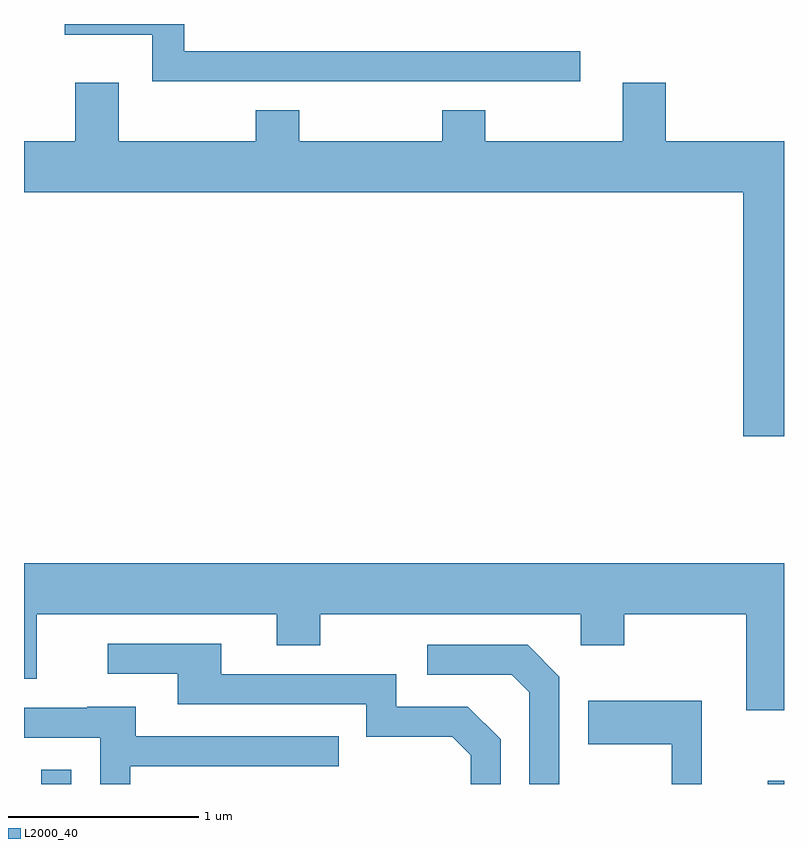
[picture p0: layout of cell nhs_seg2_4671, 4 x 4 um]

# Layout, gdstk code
import gdstk
lib = gdstk.Library(unit=1e-6, precision=1e-09)
def R(c, l, rs):  # rectangles x0, y0, x1, y1
    for r in rs: c.add(gdstk.rectangle(r[:2], r[2:], *l))
def P(c, l, *ps):  # polygons
    for p in ps: c.add(gdstk.Polygon(p, *l))
L2000_40 = (2000, 40)

nhs_seg2_4671 = lib.new_cell('nhs_seg2_4671')
R(nhs_seg2_4671, L2000_40, [(321.701,1111.802,321.859,1111.878), (325.526,1111.802,325.611,1111.819)])
P(nhs_seg2_4671, L2000_40, [(324.538,1115.659),(322.454,1115.659),(322.454,1115.802),(321.826,1115.802),(321.826,1115.746),(322.286,1115.746),(322.286,1115.501),(324.538,1115.501)],
  [(323.811,1115.349),(323.811,1115.184),(323.059,1115.184),(323.059,1115.349),(322.831,1115.349),(322.831,1115.184),(322.109,1115.184),(322.109,1115.494),(321.881,1115.494),(321.881,1115.184),(321.611,1115.184),(321.611,1114.916),(325.396,1114.916),(325.396,1113.631),(325.611,1113.631),(325.611,1115.184),(324.989,1115.184),(324.989,1115.494),(324.761,1115.494),(324.761,1115.184),(324.039,1115.184),(324.039,1115.349)],
  [(325.611,1112.964),(321.611,1112.964),(321.611,1112.356),(321.679,1112.356),(321.679,1112.696),(322.941,1112.696),(322.941,1112.531),(323.169,1112.531),(323.169,1112.696),(324.541,1112.696),(324.541,1112.531),(324.769,1112.531),(324.769,1112.696),(325.411,1112.696),(325.411,1112.191),(325.611,1112.191)],
  [(324.119,1112.037),(323.947,1112.209),(323.569,1112.209),(323.569,1112.379),(322.649,1112.379),(322.649,1112.539),(322.053,1112.539),(322.053,1112.381),(322.421,1112.381),(322.421,1112.221),(323.411,1112.221),(323.411,1112.051),(323.864,1112.051),(323.961,1111.954),(323.961,1111.802),(324.119,1111.802)],
  [(324.429,1112.367),(324.262,1112.534),(323.733,1112.534),(323.733,1112.376),(324.179,1112.376),(324.271,1112.284),(324.271,1111.802),(324.429,1111.802)],
  [(325.179,1112.239),(324.581,1112.239),(324.581,1112.011),(325.021,1112.011),(325.021,1111.802),(325.179,1111.802)],
  [(322.169,1111.896),(323.268,1111.896),(323.268,1112.054),(322.199,1112.054),(322.199,1112.209),(321.945,1112.209),(321.945,1112.204),(321.611,1112.204),(321.611,1112.046),(322.011,1112.046),(322.011,1111.802),(322.169,1111.802)])

lib.write_gds('nhs_seg2_4671.gds')
